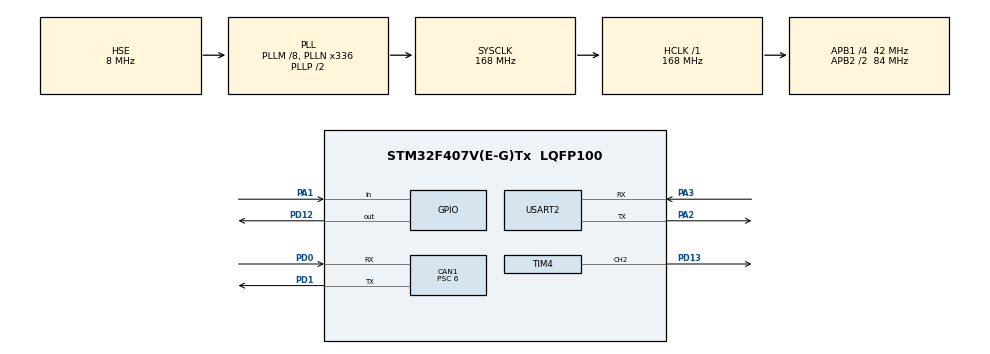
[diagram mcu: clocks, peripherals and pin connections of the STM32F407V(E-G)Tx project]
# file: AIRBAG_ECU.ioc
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CAN1.BS1=CAN_BS1_11TQ
CAN1.BS2=CAN_BS2_2TQ
CAN1.CalculateBaudRate=500000
CAN1.CalculateTimeBit=2000
CAN1.CalculateTimeQuantum=142.85714285714286
CAN1.Prescaler=6
Mcu.Family=STM32F4
Mcu.Name=STM32F407V(E-G)Tx
Mcu.Package=LQFP100
NVIC.CAN1_RX0_IRQn=true\:0\:0\:false\:false\:true\:true\:true\:true
NVIC.CAN1_TX_IRQn=true\:0\:0\:false\:false\:true\:true\:true\:true
NVIC.PriorityGroup=NVIC_PRIORITYGROUP_0
PA1.Signal=GPIO_Input
PA13.Mode=Serial_Wire
PA13.Signal=SYS_JTMS-SWDIO
PA14.Mode=Serial_Wire
PA14.Signal=SYS_JTCK-SWCLK
PA2.Mode=Asynchronous
PA2.Signal=USART2_TX
PA3.Mode=Asynchronous
PA3.Signal=USART2_RX
PD0.Mode=CAN_Activate
PD0.Signal=CAN1_RX
PD1.Mode=CAN_Activate
PD1.Signal=CAN1_TX
PD12.Signal=GPIO_Output
PD13.Signal=S_TIM4_CH2
PH0-OSC_IN.Mode=HSE-External-Oscillator
PH0-OSC_IN.Signal=RCC_OSC_IN
PH1-OSC_OUT.Mode=HSE-External-Oscillator
PH1-OSC_OUT.Signal=RCC_OSC_OUT
ProjectManager.HeapSize=0x200
ProjectManager.StackSize=0x400
ProjectManager.TargetToolchain=STM32CubeIDE
RCC.48MHZClocksFreq_Value=48000000
RCC.AHBFreq_Value=168000000
RCC.APB1CLKDivider=RCC_HCLK_DIV4
RCC.APB1Freq_Value=42000000
RCC.APB1TimFreq_Value=84000000
RCC.APB2CLKDivider=RCC_HCLK_DIV2
RCC.APB2Freq_Value=84000000
RCC.APB2TimFreq_Value=168000000
RCC.CortexFreq_Value=168000000
RCC.HCLKFreq_Value=168000000
RCC.HSE_VALUE=8000000
RCC.HSI_VALUE=16000000
RCC.LSE_VALUE=32768
RCC.PLLM=8
RCC.PLLN=336
RCC.PLLQ=7
RCC.PLLSourceVirtual=RCC_PLLSOURCE_HSE
RCC.SYSCLKFreq_VALUE=168000000
RCC.SYSCLKSource=RCC_SYSCLKSOURCE_PLLCLK
RCC.VCOOutputFreq_Value=336000000
SH.S_TIM4_CH2.0=TIM4_CH2,PWM Generation2 CH2
TIM4.Channel-PWM\ Generation2\ CH2=TIM_CHANNEL_2
TIM4.Prescaler=6
USART2.VirtualMode=VM_ASYNC
VP_TIM4_VS_ClockSourceINT.Mode=Internal
board=STM32F407G-DISC1

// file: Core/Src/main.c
/* USER CODE BEGIN Header */
/**
  ******************************************************************************
  * @file           : main.c
  * @brief          : Main program body
  * Crash Detection ECU with CAN Communication
  * and UART Debugging
  ******************************************************************************
  */
/* USER CODE END Header */
#include "main.h"

/* USER CODE BEGIN Includes */

#include <string.h>
#include <stdio.h>

/* USER CODE END Includes */

/* USER CODE BEGIN PD */

#define SENSOR_GPIO_PORT      GPIOA
#define SENSOR_GPIO_PIN       GPIO_PIN_1

#define LED_GPIO_PORT         GPIOD
#define LED_GPIO_PIN          GPIO_PIN_12

#define RX_LED_GPIO_PIN       GPIO_PIN_13

#define BEEP_DURATION_MS      300

// --- FIXED ECU IDs ---
#define MY_TX_ID              0x100   // Airbag ECU ID
#define MY_RX_ID              0x107   // Listening for Telematics ECU (0x107)

/* USER CODE END PD */

CAN_HandleTypeDef hcan1;

TIM_HandleTypeDef htim4;

UART_HandleTypeDef huart2;

/* USER CODE BEGIN PV */

/* CAN Variables */
CAN_TxHeaderTypeDef TxHeader;
CAN_RxHeaderTypeDef RxHeader;

uint32_t TxMailbox;

uint8_t TxData[1];
uint8_t RxData[1];

/* UART Debug Buffer */
char uartBuffer[100];

/* TX Attempt Counter */
uint32_t txAttemptCount = 0;

/* USER CODE END PV */

void SystemClock_Config(void);
static void MX_GPIO_Init(void);
static void MX_CAN1_Init(void);
static void MX_TIM4_Init(void);
static void MX_USART2_UART_Init(void);
/* USER CODE BEGIN PFP */

void UART_Print(char *msg);

/* USER CODE END PFP */

/* USER CODE BEGIN 0 */

void UART_Print(char *msg)
{
  HAL_UART_Transmit(&huart2,
                    (uint8_t*)msg,
                    strlen(msg),
                    HAL_MAX_DELAY);
}

/* USER CODE END 0 */

int main(void)
{

  /* MCU Configuration--------------------------------------------------------*/

  /* Reset of all peripherals, Initializes the Flash interface and the Systick. */
  HAL_Init();

  /* Configure the system clock */
  SystemClock_Config();

  /* Initialize all configured peripherals */
  MX_GPIO_Init();
  MX_CAN1_Init();
  MX_TIM4_Init();
  MX_USART2_UART_Init();
  /* USER CODE BEGIN 2 */

  /* Turn OFF LEDs Initially */
  HAL_GPIO_WritePin(GPIOD,
                    GPIO_PIN_12 | GPIO_PIN_13,
                    GPIO_PIN_RESET);

  /* Stop Buzzer Initially */
  HAL_TIM_PWM_Stop(&htim4,
                   TIM_CHANNEL_2);

  // =====================================================
  // CAN FILTER CONFIGURATION
  // =====================================================

  CAN_FilterTypeDef canfilterconfig;

  canfilterconfig.FilterActivation = CAN_FILTER_ENABLE;
  canfilterconfig.FilterBank = 0;
  canfilterconfig.FilterFIFOAssignment = CAN_RX_FIFO0;

  canfilterconfig.FilterIdHigh = 0x0000;
  canfilterconfig.FilterIdLow = 0x0000;

  canfilterconfig.FilterMaskIdHigh = 0x0000;
  canfilterconfig.FilterMaskIdLow = 0x0000;

  canfilterconfig.FilterMode = CAN_FILTERMODE_IDMASK;
  canfilterconfig.FilterScale = CAN_FILTERSCALE_32BIT;

  HAL_CAN_ConfigFilter(&hcan1, &canfilterconfig);

  // =====================================================
  // ENABLE CAN INTERRUPTS
  // =====================================================
  HAL_CAN_ActivateNotification(&hcan1, CAN_IT_RX_FIFO0_MSG_PENDING | CAN_IT_TX_MAILBOX_EMPTY);

  // =====================================================
  // START CAN
  // =====================================================
  HAL_CAN_Start(&hcan1);

  // =====================================================
  // CAN HEADER CONFIGURATION
  // =====================================================
  TxHeader.StdId = MY_TX_ID;
  TxHeader.ExtId = 0x00;
  TxHeader.IDE   = CAN_ID_STD;
  TxHeader.RTR   = CAN_RTR_DATA;
  TxHeader.DLC   = 1;
  TxHeader.TransmitGlobalTime = DISABLE;

  UART_Print("\r\n====================================\r\n");
  UART_Print("Crash Detection ECU Started\r\n");
  UART_Print("CAN Communication Initialized\r\n");
  UART_Print("====================================\r\n\r\n");
  UART_Print("System Monitoring Started...\r\n\r\n");

  /* USER CODE END 2 */

  /* Infinite loop */
  /* USER CODE BEGIN WHILE */
  while (1)
  {
    // =====================================================
    // CRASH / VIBRATION DETECTION
    // =====================================================

    if(HAL_GPIO_ReadPin(SENSOR_GPIO_PORT, SENSOR_GPIO_PIN) == GPIO_PIN_RESET)
    {
      UART_Print("Crash/Vibration Detected!\r\n");

      // LED ON IMMEDIATELY
      HAL_GPIO_WritePin(GPIOD, GPIO_PIN_12, GPIO_PIN_SET);

      // BUZZER ON IMMEDIATELY
      HAL_TIM_PWM_Start(&htim4, TIM_CHANNEL_2);

      // INCREMENT TX ATTEMPT COUNTER
      txAttemptCount++;

      // PREPARE CAN DATA
      TxData[0] = 0x01;

      sprintf(uartBuffer, "[TX Attempt #%lu] Sending Crash Frame | ID: 0x%03X | DATA: 0x%02X\r\n",
              txAttemptCount, (unsigned int)TxHeader.StdId, TxData[0]);
      UART_Print(uartBuffer);

      // SEND CAN MESSAGE
      if(HAL_CAN_AddTxMessage(&hcan1, &TxHeader, TxData, &TxMailbox) == HAL_OK)
      {
          sprintf(uartBuffer, "[TX Attempt #%lu] Frame Queued in Mailbox %lu -> Waiting for Bus Transmission...\r\n",
                  txAttemptCount, TxMailbox);
          UART_Print(uartBuffer);
      }
      else
      {
    	  uint32_t err = HAL_CAN_GetError(&hcan1);

    	  sprintf(uartBuffer,
    	          "[TX Attempt #%lu] CAN ERROR = 0x%08lX\r\n",
    	          txAttemptCount,
    	          err);

    	  UART_Print(uartBuffer);
      }

      // KEEP ALERT ACTIVE
      HAL_Delay(BEEP_DURATION_MS);

      // RESET
      HAL_GPIO_WritePin(GPIOD, GPIO_PIN_12, GPIO_PIN_RESET);
      HAL_TIM_PWM_Stop(&htim4, TIM_CHANNEL_2);
      UART_Print("System Returned To Monitoring Mode\r\n\r\n");

      HAL_Delay(200);
    }
    else
    {
      // NORMAL CONDITION
      HAL_GPIO_WritePin(GPIOD, GPIO_PIN_12, GPIO_PIN_RESET);
      HAL_TIM_PWM_Stop(&htim4, TIM_CHANNEL_2);
    }
    /* USER CODE END WHILE */

  }
}

void SystemClock_Config(void)
{
  RCC_OscInitTypeDef RCC_OscInitStruct = {0};
  RCC_ClkInitTypeDef RCC_ClkInitStruct = {0};

  /** Configure the main internal regulator output voltage
  */
  __HAL_RCC_PWR_CLK_ENABLE();
  __HAL_PWR_VOLTAGESCALING_CONFIG(PWR_REGULATOR_VOLTAGE_SCALE1);

  /** Initializes the RCC Oscillators according to the specified parameters
  * in the RCC_OscInitTypeDef structure.
  */
  RCC_OscInitStruct.OscillatorType = RCC_OSCILLATORTYPE_HSE;
  RCC_OscInitStruct.HSEState = RCC_HSE_ON;
  RCC_OscInitStruct.PLL.PLLState = RCC_PLL_ON;
  RCC_OscInitStruct.PLL.PLLSource = RCC_PLLSOURCE_HSE;
  RCC_OscInitStruct.PLL.PLLM = 8;
  RCC_OscInitStruct.PLL.PLLN = 336;
  RCC_OscInitStruct.PLL.PLLP = RCC_PLLP_DIV2;
  RCC_OscInitStruct.PLL.PLLQ = 7;
  if (HAL_RCC_OscConfig(&RCC_OscInitStruct) != HAL_OK)
  {
    Error_Handler();
  }

  /** Initializes the CPU, AHB and APB buses clocks
  */
  RCC_ClkInitStruct.ClockType = RCC_CLOCKTYPE_HCLK|RCC_CLOCKTYPE_SYSCLK
                              |RCC_CLOCKTYPE_PCLK1|RCC_CLOCKTYPE_PCLK2;
  RCC_ClkInitStruct.SYSCLKSource = RCC_SYSCLKSOURCE_PLLCLK;
  RCC_ClkInitStruct.AHBCLKDivider = RCC_SYSCLK_DIV1;
  RCC_ClkInitStruct.APB1CLKDivider = RCC_HCLK_DIV4;
  RCC_ClkInitStruct.APB2CLKDivider = RCC_HCLK_DIV2;

  if (HAL_RCC_ClockConfig(&RCC_ClkInitStruct, FLASH_LATENCY_5) != HAL_OK)
  {
    Error_Handler();
  }
}

static void MX_CAN1_Init(void)
{

  hcan1.Instance = CAN1;
  hcan1.Init.Prescaler = 6;
  hcan1.Init.Mode = CAN_MODE_NORMAL;
  hcan1.Init.SyncJumpWidth = CAN_SJW_1TQ;
  hcan1.Init.TimeSeg1 = CAN_BS1_11TQ;
  hcan1.Init.TimeSeg2 = CAN_BS2_2TQ;
  hcan1.Init.TimeTriggeredMode = DISABLE;
  hcan1.Init.AutoBusOff = ENABLE;
  hcan1.Init.AutoWakeUp = DISABLE;
  hcan1.Init.AutoRetransmission = ENABLE;
  hcan1.Init.ReceiveFifoLocked = DISABLE;
  hcan1.Init.TransmitFifoPriority = DISABLE;
  if (HAL_CAN_Init(&hcan1) != HAL_OK)
  {
    Error_Handler();
  }

}

static void MX_TIM4_Init(void)
{

  TIM_ClockConfigTypeDef sClockSourceConfig = {0};
  TIM_MasterConfigTypeDef sMasterConfig = {0};
  TIM_OC_InitTypeDef sConfigOC = {0};

  htim4.Instance = TIM4;
  htim4.Init.Prescaler = 6;
  htim4.Init.CounterMode = TIM_COUNTERMODE_UP;
  htim4.Init.Period = 999;
  htim4.Init.ClockDivision = TIM_CLOCKDIVISION_DIV1;
  htim4.Init.AutoReloadPreload = TIM_AUTORELOAD_PRELOAD_DISABLE;
  if (HAL_TIM_Base_Init(&htim4) != HAL_OK)
  {
    Error_Handler();
  }
  sClockSourceConfig.ClockSource = TIM_CLOCKSOURCE_INTERNAL;
  if (HAL_TIM_ConfigClockSource(&htim4, &sClockSourceConfig) != HAL_OK)
  {
    Error_Handler();
  }
  if (HAL_TIM_PWM_Init(&htim4) != HAL_OK)
  {
    Error_Handler();
  }
  sMasterConfig.MasterOutputTrigger = TIM_TRGO_RESET;
  sMasterConfig.MasterSlaveMode = TIM_MASTERSLAVEMODE_DISABLE;
  if (HAL_TIMEx_MasterConfigSynchronization(&htim4, &sMasterConfig) != HAL_OK)
  {
    Error_Handler();
  }
  sConfigOC.OCMode = TIM_OCMODE_PWM1;
  sConfigOC.Pulse = 500;
  sConfigOC.OCPolarity = TIM_OCPOLARITY_HIGH;
  sConfigOC.OCFastMode = TIM_OCFAST_DISABLE;
  if (HAL_TIM_PWM_ConfigChannel(&htim4, &sConfigOC, TIM_CHANNEL_2) != HAL_OK)
  {
    Error_Handler();
  }
  HAL_TIM_MspPostInit(&htim4);

}

static void MX_USART2_UART_Init(void)
{

  huart2.Instance = USART2;
  huart2.Init.BaudRate = 115200;
  huart2.Init.WordLength = UART_WORDLENGTH_8B;
  huart2.Init.StopBits = UART_STOPBITS_1;
  huart2.Init.Parity = UART_PARITY_NONE;
  huart2.Init.Mode = UART_MODE_TX_RX;
  huart2.Init.HwFlowCtl = UART_HWCONTROL_NONE;
  huart2.Init.OverSampling = UART_OVERSAMPLING_16;
  if (HAL_UART_Init(&huart2) != HAL_OK)
  {
    Error_Handler();
  }

}

static void MX_GPIO_Init(void)
{
  GPIO_InitTypeDef GPIO_InitStruct = {0};

  /* GPIO Ports Clock Enable */
  __HAL_RCC_GPIOH_CLK_ENABLE();
  __HAL_RCC_GPIOA_CLK_ENABLE();
  __HAL_RCC_GPIOD_CLK_ENABLE();

  /*Configure GPIO pin Output Level */
  HAL_GPIO_WritePin(GPIOD, GPIO_PIN_12, GPIO_PIN_RESET);

  /*Configure GPIO pin : PA1 */
  GPIO_InitStruct.Pin = GPIO_PIN_1;
  GPIO_InitStruct.Mode = GPIO_MODE_INPUT;
  GPIO_InitStruct.Pull = GPIO_NOPULL;
  HAL_GPIO_Init(GPIOA, &GPIO_InitStruct);

  /*Configure GPIO pin : PD12 */
  GPIO_InitStruct.Pin = GPIO_PIN_12;
  GPIO_InitStruct.Mode = GPIO_MODE_OUTPUT_PP;
  GPIO_InitStruct.Pull = GPIO_NOPULL;
  GPIO_InitStruct.Speed = GPIO_SPEED_FREQ_LOW;
  HAL_GPIO_Init(GPIOD, &GPIO_InitStruct);

}

/* USER CODE BEGIN 4 */

// =====================================================
// CAN RX CALLBACK
// =====================================================

void HAL_CAN_RxFifo0MsgPendingCallback(CAN_HandleTypeDef *hcan)
{
    if(HAL_CAN_GetRxMessage(hcan, CAN_RX_FIFO0, &RxHeader, RxData) == HAL_OK)
    {
        // Listening specifically for the Telematics ECU (0x107)
        if(RxHeader.StdId == MY_RX_ID)
        {
            HAL_GPIO_TogglePin(GPIOD, GPIO_PIN_13);

            sprintf(uartBuffer, "CAN RX from Telematics -> DATA: 0x%02X\r\n", RxData[0]);
            UART_Print(uartBuffer);
        }
    }
}

// =====================================================
// CAN TX CALLBACKS — Bus-Level Transmission Confirmed
// =====================================================

void HAL_CAN_TxMailbox0CompleteCallback(CAN_HandleTypeDef *hcan)
{
    UART_Print("[CAN BUS] TX Mailbox 0 -> Frame Successfully Transmitted on CAN Bus\r\n");
}

void HAL_CAN_TxMailbox1CompleteCallback(CAN_HandleTypeDef *hcan)
{
    UART_Print("[CAN BUS] TX Mailbox 1 -> Frame Successfully Transmitted on CAN Bus\r\n");
}

void HAL_CAN_TxMailbox2CompleteCallback(CAN_HandleTypeDef *hcan)
{
    UART_Print("[CAN BUS] TX Mailbox 2 -> Frame Successfully Transmitted on CAN Bus\r\n");
}

/* USER CODE END 4 */

void Error_Handler(void)
{
  __disable_irq();
  while (1)
  {
  }
}
